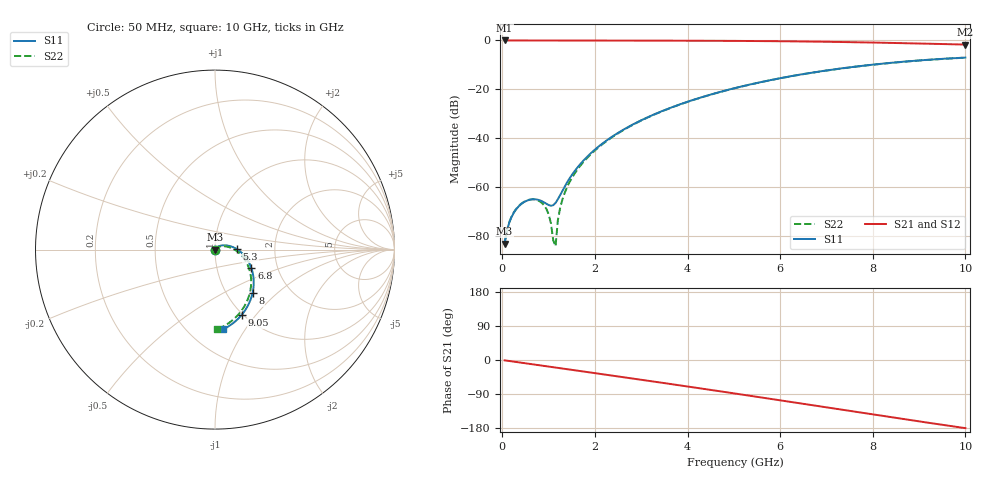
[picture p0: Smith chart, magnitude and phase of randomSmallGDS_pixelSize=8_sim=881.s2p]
! freq	dB(S11)	phase(S11)	dB(S12)	phase(S12)
!  dB(S21)	phase(S21)	dB(S22)	phase(S22)
!S-par simulation data
#  GHz  S  DB  R 50
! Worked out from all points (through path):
!   200 points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, 50 MHz to 10 GHz, reference 50 ohm
!   highest |S21| = 0.00 dB at 50 MHz (marker M1); lowest = -1.7 dB at 10 GHz (marker M2)
!   group delay of S21, straight-line fit = 50.3 ps
!   lowest |S11| = -83.2 dB at 50 MHz (marker M3), VSWR 1.00, Z = 50 - j0.00627 ohm
!   |S11| at or under -10 dB: start of sweep to 7.956 GHz
!   |S22| runs from -84.3 to -7.1 dB; largest |S21 - S12| = 0
!   S11 on the Smith chart (normalised r, x): 50 MHz: 1.00, -0.00; 5.3 GHz: 1.28, +0.01; 6.8 GHz: 1.47, -0.32; 8 GHz: 1.31, -0.71; 9.05 GHz: 0.99, -0.85; 10 GHz: 0.72, -0.80
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0.05  -83.21 -65.2  -0.00 -0.9  -0.00 -0.9  -83.07 -64.8
0.2  -72.29 -89.0  -0.00 -3.5  -0.00 -3.5  -72.12 -85.9
0.3  -69.15 -94.6  -0.00 -5.2  -0.00 -5.2  -68.98 -89.6
0.65  -65.06 -112.7  -0.01 -11.3  -0.01 -11.3  -65.07 -97.4
0.95  -66.87 -147.2  -0.02 -16.5  -0.02 -16.5  -68.94 -102.6
1  -67.42 -159.2  -0.02 -17.3  -0.02 -17.3  -71.15 -103.1
1.1  -67.48 168.3  -0.02 -19.1  -0.02 -19.1  -81.86 -81.5
1.15  -66.55 150.8  -0.02 -19.9  -0.02 -19.9  -84.27 63.7
1.25  -63.31 123.4  -0.03 -21.7  -0.03 -21.7  -68.55 69.3
1.35  -59.75 106.9  -0.03 -23.4  -0.03 -23.4  -62.32 68.0
1.5  -55.15 92.7  -0.03 -26.0  -0.03 -26.0  -56.41 65.4
1.75  -49.24 79.3  -0.03 -30.3  -0.03 -30.3  -49.84 60.8
2.45  -38.44 58.1  -0.05 -42.5  -0.05 -42.5  -38.64 47.8
3.4  -29.32 37.5  -0.07 -59.2  -0.07 -59.2  -29.40 30.5
5.05  -19.38 5.7  -0.18 -88.9  -0.18 -88.9  -19.42 0.8
5.3  -18.25 1.0  -0.21 -93.5  -0.21 -93.5  -18.29 -3.8
6.7  -13.15 -25.2  -0.46 -119.4  -0.46 -119.4  -13.19 -29.4
6.8  -12.85 -27.0  -0.48 -121.3  -0.48 -121.3  -12.89 -31.3
8  -9.91 -49.1  -0.85 -143.6  -0.85 -143.6  -9.95 -53.2
8.35  -9.24 -55.4  -0.98 -150.1  -0.98 -150.1  -9.28 -59.6
9.05  -8.11 -67.8  -1.27 -162.9  -1.27 -162.9  -8.15 -72.0
10  -7.01 -84.0  -1.68 -179.9  -1.68 -179.9  -7.06 -88.5
